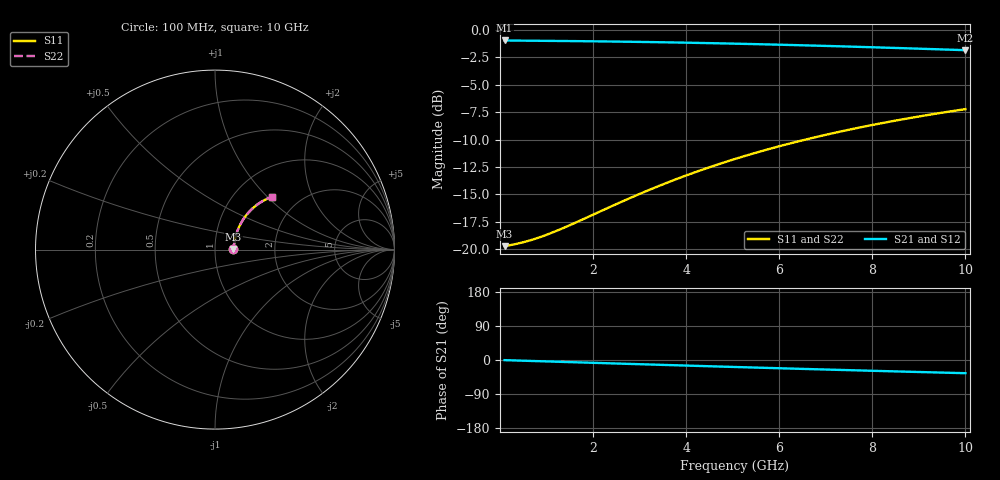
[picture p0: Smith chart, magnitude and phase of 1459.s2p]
# Hz S RI R 50.00
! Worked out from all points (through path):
!   100 points, 100 MHz to 10 GHz, reference 50 ohm
!   highest |S21| = -0.94 dB at 100 MHz (marker M1); lowest = -1.8 dB at 10 GHz (marker M2)
!   group delay of S21, straight-line fit = 9.7 ps
!   lowest |S11| = -19.8 dB at 100 MHz (marker M3), VSWR 1.23, Z = 61.5 + j0.521 ohm
!   |S11| at or under -10 dB: start of sweep to 6.572 GHz
!   |S22| runs from -19.8 to -7.2 dB; largest |S21 - S12| = 0
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1e8  0.1028 0.0042  0.8972 -0.00585  0.8972 -0.00585  0.1028 0.0042
3e8  0.104 0.0125  0.8959 -0.0175  0.8959 -0.0175  0.104 0.0125
5e8  0.1051 0.0209  0.8948 -0.0291  0.8948 -0.0291  0.1051 0.0209
8e8  0.1069 0.0333  0.893 -0.0465  0.893 -0.0465  0.1069 0.0333
1e9  0.1083 0.0415  0.8916 -0.058  0.8916 -0.058  0.1083 0.0415
1.2e9  0.1098 0.0497  0.89 -0.0695  0.89 -0.0695  0.1098 0.0497
1.5e9  0.1124 0.0618  0.8873 -0.0866  0.8873 -0.0866  0.1124 0.0618
1.8e9  0.1154 0.0739  0.8841 -0.1036  0.8841 -0.1036  0.1154 0.0739
2.7e9  0.1269 0.109  0.872 -0.1537  0.872 -0.1537  0.1269 0.109
3.1e9  0.1332 0.124  0.8654 -0.1753  0.8654 -0.1753  0.1332 0.124
3.4e9  0.1384 0.135  0.8599 -0.1913  0.8599 -0.1913  0.1384 0.135
3.8e9  0.1459 0.1492  0.852 -0.2122  0.852 -0.2122  0.1459 0.1492
4.2e9  0.1541 0.163  0.8433 -0.2326  0.8433 -0.2326  0.1541 0.163
4.6e9  0.1628 0.1763  0.8341 -0.2525  0.8341 -0.2525  0.1628 0.1763
5.1e9  0.1746 0.1921  0.8216 -0.2767  0.8216 -0.2767  0.1746 0.1921
5.5e9  0.1846 0.2041  0.811 -0.2953  0.811 -0.2953  0.1846 0.2041
5.9e9  0.1951 0.2154  0.7998 -0.3134  0.7998 -0.3134  0.1951 0.2154
6.7e9  0.2173 0.2363  0.7761 -0.3477  0.7761 -0.3477  0.2173 0.2363
7.5e9  0.2409 0.2546  0.7508 -0.3795  0.7508 -0.3795  0.2409 0.2546
8.4e9  0.2688 0.2721  0.7208 -0.4122  0.7208 -0.4122  0.2688 0.2721
9.2e9  0.2943 0.2848  0.6932 -0.4385  0.6932 -0.4385  0.2943 0.2848
1e10  0.3202 0.295  0.665 -0.4623  0.665 -0.4623  0.3202 0.295
